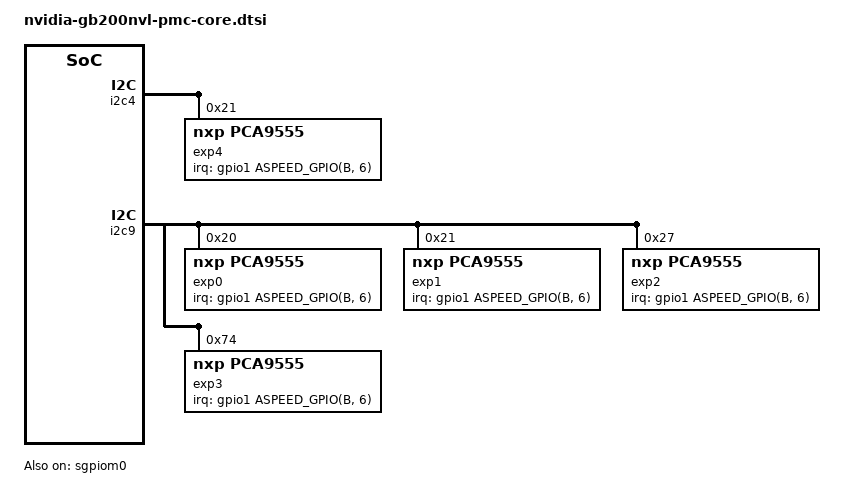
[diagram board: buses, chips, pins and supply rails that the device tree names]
// SPDX-License-Identifier: GPL-2.0+
/dts-v1/;

#include "aspeed/aspeed-g6.dtsi"
#include <dt-bindings/gpio/aspeed-gpio.h>

&gpio0 {
    gpio-line-names =

    /* gpio-line-names are the combination of <signal>-<I/O> , "" is the placeholder for the unused pins*/

    /* 204 (26*8) 3.3V GPIOs */

    /*A0-A7*/
    "", "", "", "", "", "", "", "",

    /*B0-B7*/
    "", "", "", "", "", "", "", "",

    /*C0-C7*/
    "", "", "", "", "", "", "", "",

    /*D0-D7*/
    "", "", "", "", "", "", "", "",

    /*E0-E7*/
    "", "", "", "", "", "", "", "",

    /*F0-F7*/
    "", "", "", "", "", "", "", "",

    /*G0-G7*/
    "", "", "", "", "", "", "", "",

    /*H0-H7*/
    "", "", "", "", "", "", "", "",

    /*I0-I7*/
    "", "", "", "", "", "", "", "",

    /*J0-J7*/
    "", "", "", "", "", "", "", "",

    /*K0-K7*/
    "", "", "", "", "", "", "", "",

    /*L0-L7*/
    "", "", "", "", "", "", "", "",

    /*M0-M7*/
    "", "", "", "", "", "", "", "",

    /*N0-N7*/
    "", "", "", "", "", "", "", "",

    /*O0-O7*/
    "", "", "", "", "", "", "", "",

    /*P0-P7*/
    "", "", "", "", "", "", "", "",

    /*Q0-Q7*/
    "", "", "", "", "", "", "", "",

    /*R0-R7*/
    "", "", "", "", "", "", "", "",

    /*S0-S7*/
    "", "", "", "", "", "", "", "",

    /*T0-T7*/
    "", "", "", "", "", "", "", "",

    /*U0-U7*/
    "", "", "", "", "", "", "", "",

    /*V0-V7*/
    "", "", "", "", "", "", "", "",

    /*W0-W7*/
    "", "", "", "", "", "", "", "",

    /*X0-X7*/
    "", "", "", "", "", "", "", "",

    /*Y0-Y7*/
    "", "", "", "", "", "", "", "",

    /*Z0-Z7*/
    "", "", "", "", "", "", "", "";
};

&gpio1 {
    /* 36 1.8V GPIOs */
    gpio-line-names =
    /*A0-A7*/
    "", "", "", "", "", "", "", "",

    /*B0-B7*/
    "", "", "", "", "", "", "", "",

    /*C0-C7*/
    "", "", "", "", "", "", "", "",

    /*D0-D7*/
    "", "", "", "", "", "", "", "",

    /*E0-E7*/
    "", "", "", "", "", "", "", "";
};

&sgpiom0 {
	status="okay";
	ngpios = <128>;

    gpio-line-names =
"",
"",
"",
"",
"",
"",
"",
"",
"",
"",
"",
"",
"",
"",
"",
"",
"RUN_POWER_FAULT_L-I",
"SYS_RST_IN_L-O",
"RUN_POWER_PG-I",
"PWR_BRAKE_L-O",
"SYS_RST_OUT_L-I",
"RUN_POWER_EN-O",
"L0L1_RST_REQ_OUT_L-I",
"SHDN_FORCE_L-O",
"L2_RST_REQ_OUT_L-I",
"SHDN_REQ_L-O",
"SHDN_OK_L-I",
"UID_LED_N-O",
"BMC_I2C1_FPGA_ALERT_L-I",
"SYS_FAULT_LED_N-O",
"BMC_I2C0_FPGA_ALERT_L-I",
"PWR_LED_N-O",
"FPGA_RSVD_FFU3-I",
"",
"FPGA_RSVD_FFU2-I",
"",
"FPGA_RSVD_FFU1-I",
"",
"FPGA_RSVD_FFU0-I",
"BMC_I2C_SSIF_ALERT_L-O",
"CPU_BOOT_DONE-I",
"JTAG_MUX_SELECT-O",
"SPI_BMC_FPGA_INT_L-I",
"RTC_CLR_L-O",
"THERM_BB_WARN_L-I",
"UART_MUX_SEL-O",
"THERM_BB_OVERT_L-I",
"",
"CPU0_UPHY3_PRSNT1_L-I",
"IOBRD0_RUN_POWER_EN-O",
"CPU0_UPHY3_PRSNT0_L-I",
"IOBRD1_RUN_POWER_EN-O",
"CPU0_UPHY2_PRSNT1_L-I",
"FPGA_RSVD_FFU4-O",
"CPU0_UPHY2_PRSNT0_L-I",
"FPGA_RSVD_FFU5-O",
"CPU0_UPHY1_PRSNT1_L-I",
"FPGA_RSVD_FFU6-O",
"CPU0_UPHY1_PRSNT0_L-I",
"FPGA_RSVD_FFU7-O",
"CPU0_UPHY0_PRSNT1_L-I",
"RSVD_NV_PLT_DETECT-O",
"CPU0_UPHY0_PRSNT0_L-I",
"SPI1_INT_L-O",
"CPU1_UPHY3_PRSNT1_L-I",
"",
"CPU1_UPHY3_PRSNT0_L-I",
"",
"CPU1_UPHY2_PRSNT1_L-I",
"",
"CPU1_UPHY2_PRSNT0_L-I",
"",
"CPU1_UPHY1_PRSNT1_L-I",
"",
"CPU1_UPHY1_PRSNT0_L-I",
"",
"CPU1_UPHY0_PRSNT1_L-I",
"",
"CPU1_UPHY0_PRSNT0_L-I",
"",
"FAN1_PRESENT_L-I",
"",
"FAN0_PRESENT_L-I",
"",
"",
"",
"IPEX_CABLE_PRSNT_L-I",
"",
"M2_1_PRSNT_L-I",
"",
"M2_0_PRSNT_L-I",
"",
"CPU1_UPHY4_PRSNT1_L-I",
"",
"CPU0_UPHY4_PRSNT0_L-I",
"",
"",
"",
"I2C_RTC_ALERT_L-I",
"",
"FAN7_PRESENT_L-I",
"",
"FAN6_PRESENT_L-I",
"",
"FAN5_PRESENT_L-I",
"",
"FAN4_PRESENT_L-I",
"",
"FAN3_PRESENT_L-I",
"",
"FAN2_PRESENT_L-I",
"",
"IOBRD0_IOX_INT_L-I",
"",
"IOBRD1_PRSNT_L-I",
"",
"IOBRD0_PRSNT_L-I",
"",
"IOBRD1_PWR_GOOD-I",
"",
"IOBRD0_PWR_GOOD-I",
"",
"",
"",
"",
"",
"FAN_FAIL_IN_L-I",
"",
"",
"",
"",
"",
"",
"",
"PDB_CABLE_PRESENT_L-I",
"",
"",
"",
"CHASSIS_PWR_BRK_L-I",
"",
"",
"",
"IOBRD1_IOX_INT_L-I",
"",
"10GBE_SMBALRT_L-I",
"",
"PCIE_WAKE_L-I",
"",
"I2C_M21_ALERT_L-I",
"",
"I2C_M20_ALERT_L-I",
"",
"TRAY_FAST_SHDN_L-I",
"",
"UID_BTN_N-I",
"",
"PWR_BTN_L-I",
"",
"PSU_SMB_ALERT_L-I",
"",
"",
"",
"",
"",
"NODE_LOC_ID[0]-I",
"",
"NODE_LOC_ID[1]-I",
"",
"NODE_LOC_ID[2]-I",
"",
"NODE_LOC_ID[3]-I",
"",
"NODE_LOC_ID[4]-I",
"",
"NODE_LOC_ID[5]-I",
"",
"FAN10_PRESENT_L-I",
"",
"FAN9_PRESENT_L-I",
"",
"FAN8_PRESENT_L-I",
"",
"FPGA1_READY_HMC-I",
"",
"DP_HPD-I",
"",
"HMC_I2C3_FPGA_ALERT_L-I",
"",
"HMC_I2C2_FPGA_ALERT_L-I",
"",
"FPGA0_READY_HMC-I",
"",
"",
"",
"",
"",
"",
"",
"",
"",
"LEAK_DETECT_ALERT_L-I",
"",
"MOD1_B2B_CABLE_PRESENT_L-I",
"",
"MOD1_CLINK_CABLE_PRESENT_L-I",
"",
"FAN11_PRESENT_L-I",
"",
"",
"",
"",
"",
"",
"",
"",
"",
"",
"",
"",
"",
"",
"",
"",
"",
"",
"",
"",
"",
"",
"",
"",
"",
"",
"",
"",
"",
"",
"",
"",
"",
"RSVD_SGPIO_IN_CRC[0]",
"RSVD_SGPIO_O_CRC[7]",
"RSVD_SGPIO_IN_CRC[1]",
"RSVD_SGPIO_O_CRC[6]",
"RSVD_SGPIO_IN_CRC[2]",
"RSVD_SGPIO_O_CRC[5]",
"RSVD_SGPIO_IN_CRC[3]",
"RSVD_SGPIO_O_CRC[4]",
"RSVD_SGPIO_IN_CRC[4]",
"RSVD_SGPIO_O_CRC[3]",
"RSVD_SGPIO_IN_CRC[5]",
"RSVD_SGPIO_O_CRC[2]",
"RSVD_SGPIO_IN_CRC[6]",
"RSVD_SGPIO_O_CRC[1]",
"RSVD_SGPIO_IN_CRC[7]",
"RSVD_SGPIO_O_CRC[0]";
};

// I2C5 GPIO Expander
&i2c4 {
    // Module 0, Expander @0x21
    exp4: pca9555@21 {
 		compatible = "nxp,pca9555";
 		reg = <0x21>;
		gpio-controller;
		#gpio-cells = <2>;

        #address-cells = <1>;
        #size-cells = <0>;
        interrupt-controller;
        #interrupt-cells = <2>;
        interrupt-parent = <&gpio1>;
        interrupts = <ASPEED_GPIO(B, 6) IRQ_TYPE_LEVEL_LOW>;

        gpio-line-names =
            "RTC_MUX_SEL-O",
            "PCI_MUX_SEL-O",
            "TPM_MUX_SEL-O",
            "FAN_MUX-SEL-O",
            "SGMII_MUX_SEL-O",
            "DP_MUX_SEL-O",
            "UPHY3_USB_SEL-O",
            "NCSI_MUX_SEL-O",
            "BMC_PHY_RST-O",
            "RTC_CLR_L-O",
            "BMC_12V_CTRL-O",
            "PS_RUN_IO0_PG-I",
            "",
            "",
            "",
            "";
 	};
};

// I2C9 GPIO Expanders
&i2c9 {
    // Module 0, Expander @0x20
    exp0: pca9555@20 {
 		compatible = "nxp,pca9555";
 		reg = <0x20>;
		gpio-controller;
		#gpio-cells = <2>;

        #address-cells = <1>;
        #size-cells = <0>;
        interrupt-controller;
        #interrupt-cells = <2>;
        interrupt-parent = <&gpio1>;
        interrupts = <ASPEED_GPIO(B, 6) IRQ_TYPE_LEVEL_LOW>;

        gpio-line-names =
            "FPGA_THERM_OVERT_L-I",
            "FPGA_READY_BMC-I",
            "HMC_BMC_DETECT-O",
            "HMC_PGOOD-O",
            "",
            "BMC_STBY_CYCLE-O",
            "FPGA_EROT_FATAL_ERROR_L-I",
            "WP_HW_EXT_CTRL_L-O",
            "EROT_FPGA_RST_L-O",
            "FPGA_EROT_RECOVERY_L-O",
            "BMC_EROT_FPGA_SPI_MUX_SEL-O",
            "USB_HUB_RESET_L-O",
            "NCSI_CS1_SEL-O",
            "SGPIO_EN_L-O",
            "B2B_IOEXP_INT_L-I",
            "I2C_BUS_MUX_RESET_L-O";
 	};

    // Module 1, Expander @0x21
    exp1: pca9555@21 {
 		compatible = "nxp,pca9555";
 		reg = <0x21>;
		gpio-controller;
		#gpio-cells = <2>;

        #address-cells = <1>;
        #size-cells = <0>;
        interrupt-controller;
        #interrupt-cells = <2>;
        interrupt-parent = <&gpio1>;
        interrupts = <ASPEED_GPIO(B, 6) IRQ_TYPE_LEVEL_LOW>;

        gpio-line-names =
            "SEC_FPGA_THERM_OVERT_L-I",
            "SEC_FPGA_READY_BMC-I",
            "",
            "",
            "",
            "",
            "SEC_FPGA_EROT_FATAL_ERROR_L-I",
            "SEC_WP_HW_EXT_CTRL_L-O",
            "SEC_EROT_FPGA_RST_L-O",
            "SEC_FPGA_EROT_RECOVERY_L-O",
            "SEC_BMC_EROT_FPGA_SPI_MUX_SEL-O",
            "",
            "",
            "",
            "",
            "SEC_I2C_BUS_MUX_RESET_L-O";
 	};

    // HMC Expander @0x27
    exp2: pca9555@27 {
 		compatible = "nxp,pca9555";
 		reg = <0x27>;
		gpio-controller;
		#gpio-cells = <2>;

        #address-cells = <1>;
        #size-cells = <0>;
        interrupt-controller;
        #interrupt-cells = <2>;
        interrupt-parent = <&gpio1>;
        interrupts = <ASPEED_GPIO(B, 6) IRQ_TYPE_LEVEL_LOW>;

        gpio-line-names =
            "HMC_PRSNT_L-I",
            "HMC_READY-I",
            "HMC_EROT_FATAL_ERROR_L-I",
            "I2C_MUX_SEL-O",
            "HMC_EROT_SPI_MUX_SEL-O",
            "HMC_EROT_RECOVERY_L-O",
            "HMC_EROT_RST_L-O",
            "GLOBAL_WP_HMC-O",
            "FPGA_RST_L-O",
            "USB2_HUB_RST-O",
            "CPU_UART_MUX_SEL-O",
            "",
            "",
            "",
            "",
            "";
 	};
    // HMC Expander @0x74
    exp3: pca9555@74 {
        compatible = "nxp,pca9555";
        reg = <0x74>;
		gpio-controller;
		#gpio-cells = <2>;

        #address-cells = <1>;
        #size-cells = <0>;

        interrupt-controller;
        #interrupt-cells = <2>;
        interrupt-parent = <&gpio1>;
        interrupts = <ASPEED_GPIO(B, 6) IRQ_TYPE_LEVEL_LOW>;

        gpio-line-names =
            "IOB_PRSNT_L",
            "IOB_DP_HPD",
            "IOX_BMC_RESET",
            "IOB_IOEXP_INT_L",
            "IOB_UID_LED_L",
            "IOB_UID_BTN_L",
            "IOB_SYS_RST_BTN_L",
            "IOB_PWR_LED_L",
            "IOB_PWR_BTN_L",
            "IOB_PHY_RST",
            "CPLD_JTAG_MUX_SEL",
            "",
            "",
            "",
            "",
            "";
    };
};

